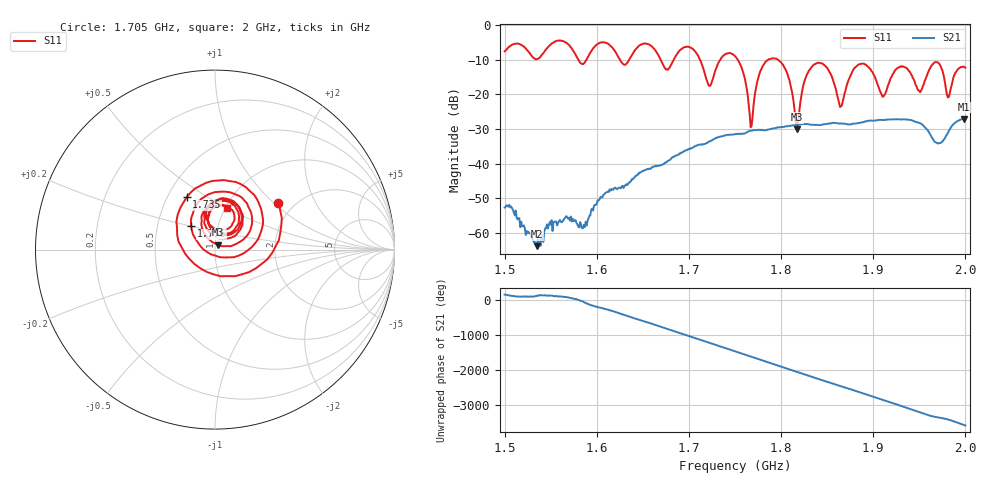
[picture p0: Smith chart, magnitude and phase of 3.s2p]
! NanoVNA-App by SYSJOINT et al v1.1.209 (+OD18)
! Date: 2026-01-21 14:53:56
! Start: 1,5GHz Stop: 2GHz Points: 501
! S-Parameter data: F S11 S21 S12 S22
# Hz S RI R 50
!  Frequency  S11_Real  S11_Imag  S21_Real  S21_Imag  S12_Real  S12_Imag  S22_Real  S22_Imag
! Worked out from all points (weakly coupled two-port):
!   501 points, 1.5 GHz to 2 GHz, reference 50 ohm
!   highest |S21| = -27.10 dB at 1.998 GHz (marker M1); lowest = -63.8 dB at 1.535 GHz (marker M2)
!   lowest |S11| = -30.1 dB at 1.817 GHz (marker M3), VSWR 1.06, Z = 51.5 + j2.8 ohm
!   |S11| at or under -10 dB: 1.712 GHz to 1.734 GHz (22.04 MHz wide, 1.28 % of centre); 1.753 GHz to 1.786 GHz (33.38 MHz wide, 1.89 % of centre); 1.796 GHz to end of sweep (the widest 3 of 6)
!   S12 and S22 are empty: the file has one direction only
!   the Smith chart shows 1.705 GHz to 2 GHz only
!   S11 on the Smith chart (normalised r, x): 1.705 GHz: 1.66, +1.07; 1.735 GHz: 0.62, +0.41; 1.776 GHz: 0.74, +0.20; 2 GHz: 1.02, +0.50
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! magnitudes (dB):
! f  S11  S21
! 1.5 GHz  -7.6  -52.7
! 1.535 GHz  -9.8  -63.8
! 1.561 GHz  -4.5  -56.8
! 1.584 GHz  -11.2  -58.7
! 1.667 GHz  -8.8  -40.6
! 1.705 GHz  -7.2  -35.3
! 1.722 GHz  -17.6  -33.6
! 1.735 GHz  -9.6  -32.2
! 1.75 GHz  -9.0  -31.5
! 1.767 GHz  -29.5  -30.5
! 1.776 GHz  -14.6  -30.3
! 1.801 GHz  -11.2  -29.5
! 1.817 GHz  -30.1  -28.8
! 1.834 GHz  -11.9  -28.8
! 1.865 GHz  -23.5  -28.4
! 1.885 GHz  -11.3  -28.3
! 1.917 GHz  -16.8  -27.3
! 1.951 GHz  -19.4  -28.4
! 1.969 GHz  -10.7  -34.0
! 1.982 GHz  -20.8  -30.6
! 1.998 GHz  -12.0  -27.1
! 2 GHz  -12.3  -27.2
